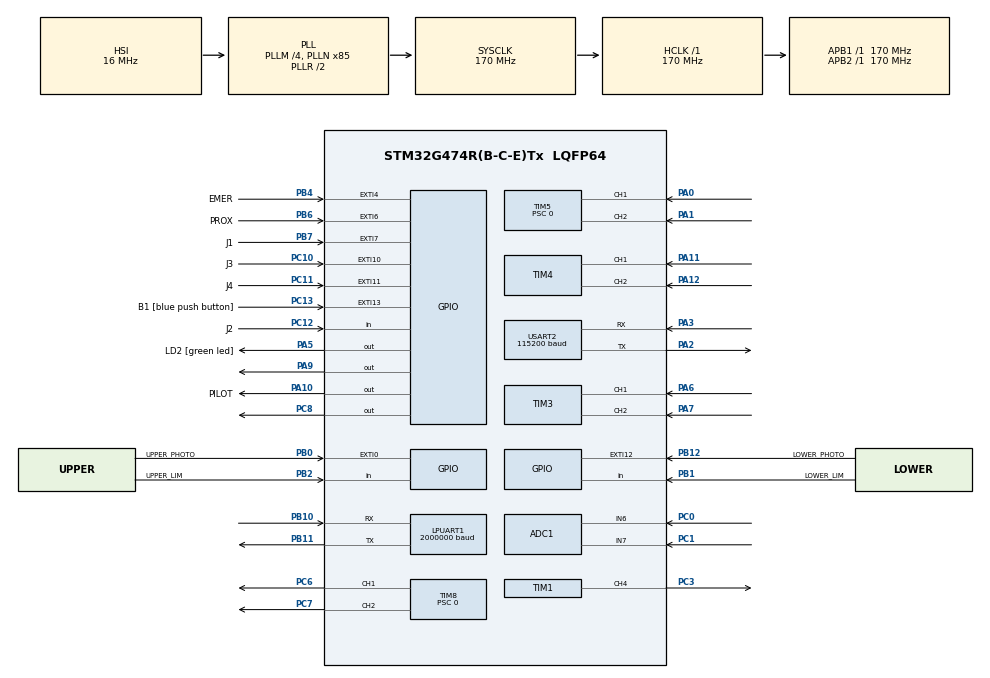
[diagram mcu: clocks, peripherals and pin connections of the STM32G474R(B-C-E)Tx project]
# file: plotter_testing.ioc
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ADC1.Channel-1\#ChannelRegularConversion=ADC_CHANNEL_6
ADC1.Channel-2\#ChannelRegularConversion=ADC_CHANNEL_7
ADC1.ContinuousConvMode=ENABLE
ADC1.DMAContinuousRequests=ENABLE
ADC1.NbrOfConversion=2
ADC1.NbrOfConversionFlag=1
ADC1.OffsetNumber-1\#ChannelRegularConversion=ADC_OFFSET_NONE
ADC1.OffsetNumber-2\#ChannelRegularConversion=ADC_OFFSET_NONE
ADC1.Rank-1\#ChannelRegularConversion=1
ADC1.Rank-2\#ChannelRegularConversion=2
ADC1.SamplingTime-1\#ChannelRegularConversion=ADC_SAMPLETIME_640CYCLES_5
ADC1.SamplingTime-2\#ChannelRegularConversion=ADC_SAMPLETIME_640CYCLES_5
ADC1.master=1
Dma.ADC1.0.Direction=DMA_PERIPH_TO_MEMORY
Dma.ADC1.0.EventEnable=DISABLE
Dma.ADC1.0.Instance=DMA1_Channel1
Dma.ADC1.0.MemDataAlignment=DMA_MDATAALIGN_HALFWORD
Dma.ADC1.0.MemInc=DMA_MINC_ENABLE
Dma.ADC1.0.Mode=DMA_CIRCULAR
Dma.ADC1.0.PeriphDataAlignment=DMA_PDATAALIGN_HALFWORD
Dma.ADC1.0.PeriphInc=DMA_PINC_DISABLE
Dma.ADC1.0.Polarity=HAL_DMAMUX_REQ_GEN_RISING
Dma.ADC1.0.Priority=DMA_PRIORITY_LOW
Dma.ADC1.0.RequestNumber=1
Dma.ADC1.0.SignalID=NONE
Dma.ADC1.0.SyncEnable=DISABLE
Dma.ADC1.0.SyncPolarity=HAL_DMAMUX_SYNC_NO_EVENT
Dma.ADC1.0.SyncRequestNumber=1
Dma.ADC1.0.SyncSignalID=NONE
Dma.LPUART1_RX.3.Direction=DMA_PERIPH_TO_MEMORY
Dma.LPUART1_RX.3.EventEnable=DISABLE
Dma.LPUART1_RX.3.Instance=DMA1_Channel4
Dma.LPUART1_RX.3.MemDataAlignment=DMA_MDATAALIGN_BYTE
Dma.LPUART1_RX.3.MemInc=DMA_MINC_ENABLE
Dma.LPUART1_RX.3.Mode=DMA_NORMAL
Dma.LPUART1_RX.3.PeriphDataAlignment=DMA_PDATAALIGN_BYTE
Dma.LPUART1_RX.3.PeriphInc=DMA_PINC_DISABLE
Dma.LPUART1_RX.3.Polarity=HAL_DMAMUX_REQ_GEN_RISING
Dma.LPUART1_RX.3.Priority=DMA_PRIORITY_LOW
Dma.LPUART1_RX.3.RequestNumber=1
Dma.LPUART1_RX.3.SignalID=NONE
Dma.LPUART1_RX.3.SyncEnable=DISABLE
Dma.LPUART1_RX.3.SyncPolarity=HAL_DMAMUX_SYNC_NO_EVENT
Dma.LPUART1_RX.3.SyncRequestNumber=1
Dma.LPUART1_RX.3.SyncSignalID=NONE
Dma.LPUART1_TX.4.Direction=DMA_MEMORY_TO_PERIPH
Dma.LPUART1_TX.4.EventEnable=DISABLE
Dma.LPUART1_TX.4.Instance=DMA1_Channel5
Dma.LPUART1_TX.4.MemDataAlignment=DMA_MDATAALIGN_BYTE
Dma.LPUART1_TX.4.MemInc=DMA_MINC_ENABLE
Dma.LPUART1_TX.4.Mode=DMA_NORMAL
Dma.LPUART1_TX.4.PeriphDataAlignment=DMA_PDATAALIGN_BYTE
Dma.LPUART1_TX.4.PeriphInc=DMA_PINC_DISABLE
Dma.LPUART1_TX.4.Polarity=HAL_DMAMUX_REQ_GEN_RISING
Dma.LPUART1_TX.4.Priority=DMA_PRIORITY_LOW
Dma.LPUART1_TX.4.RequestNumber=1
Dma.LPUART1_TX.4.SignalID=NONE
Dma.LPUART1_TX.4.SyncEnable=DISABLE
Dma.LPUART1_TX.4.SyncPolarity=HAL_DMAMUX_SYNC_NO_EVENT
Dma.LPUART1_TX.4.SyncRequestNumber=1
Dma.LPUART1_TX.4.SyncSignalID=NONE
Dma.Request0=ADC1
Dma.Request1=USART2_RX
Dma.Request2=USART2_TX
Dma.Request3=LPUART1_RX
Dma.Request4=LPUART1_TX
Dma.USART2_RX.1.Direction=DMA_PERIPH_TO_MEMORY
Dma.USART2_RX.1.EventEnable=DISABLE
Dma.USART2_RX.1.Instance=DMA1_Channel2
Dma.USART2_RX.1.MemDataAlignment=DMA_MDATAALIGN_BYTE
Dma.USART2_RX.1.MemInc=DMA_MINC_ENABLE
Dma.USART2_RX.1.Mode=DMA_NORMAL
Dma.USART2_RX.1.PeriphDataAlignment=DMA_PDATAALIGN_BYTE
Dma.USART2_RX.1.PeriphInc=DMA_PINC_DISABLE
Dma.USART2_RX.1.Polarity=HAL_DMAMUX_REQ_GEN_RISING
Dma.USART2_RX.1.Priority=DMA_PRIORITY_LOW
Dma.USART2_RX.1.RequestNumber=1
Dma.USART2_RX.1.SignalID=NONE
Dma.USART2_RX.1.SyncEnable=DISABLE
Dma.USART2_RX.1.SyncPolarity=HAL_DMAMUX_SYNC_NO_EVENT
Dma.USART2_RX.1.SyncRequestNumber=1
Dma.USART2_RX.1.SyncSignalID=NONE
Dma.USART2_TX.2.Direction=DMA_MEMORY_TO_PERIPH
Dma.USART2_TX.2.EventEnable=DISABLE
Dma.USART2_TX.2.Instance=DMA1_Channel3
Dma.USART2_TX.2.MemDataAlignment=DMA_MDATAALIGN_BYTE
Dma.USART2_TX.2.MemInc=DMA_MINC_ENABLE
Dma.USART2_TX.2.Mode=DMA_NORMAL
Dma.USART2_TX.2.PeriphDataAlignment=DMA_PDATAALIGN_BYTE
Dma.USART2_TX.2.PeriphInc=DMA_PINC_DISABLE
Dma.USART2_TX.2.Polarity=HAL_DMAMUX_REQ_GEN_RISING
Dma.USART2_TX.2.Priority=DMA_PRIORITY_LOW
Dma.USART2_TX.2.RequestNumber=1
Dma.USART2_TX.2.SignalID=NONE
Dma.USART2_TX.2.SyncEnable=DISABLE
Dma.USART2_TX.2.SyncPolarity=HAL_DMAMUX_SYNC_NO_EVENT
Dma.USART2_TX.2.SyncRequestNumber=1
Dma.USART2_TX.2.SyncSignalID=NONE
LPUART1.BaudRate=2000000
Mcu.Family=STM32G4
Mcu.Name=STM32G474R(B-C-E)Tx
Mcu.Package=LQFP64
NVIC.DMA1_Channel1_IRQn=true\:0\:0\:false\:false\:true\:false\:true\:true
NVIC.DMA1_Channel2_IRQn=true\:0\:0\:false\:false\:true\:false\:true\:true
NVIC.DMA1_Channel3_IRQn=true\:0\:0\:false\:false\:true\:false\:true\:true
NVIC.DMA1_Channel4_IRQn=true\:0\:0\:false\:false\:true\:false\:true\:true
NVIC.DMA1_Channel5_IRQn=true\:0\:0\:false\:false\:true\:false\:true\:true
NVIC.EXTI0_IRQn=true\:0\:0\:false\:false\:true\:true\:true\:true
NVIC.EXTI15_10_IRQn=true\:0\:0\:false\:false\:true\:true\:true\:true
NVIC.EXTI4_IRQn=true\:0\:0\:false\:false\:true\:true\:true\:true
NVIC.EXTI9_5_IRQn=true\:0\:0\:false\:false\:true\:true\:true\:true
NVIC.LPUART1_IRQn=true\:0\:0\:false\:false\:true\:true\:true\:true
NVIC.PriorityGroup=NVIC_PRIORITYGROUP_4
NVIC.TIM1_UP_TIM16_IRQn=true\:0\:0\:false\:false\:true\:true\:true\:true
NVIC.TIM2_IRQn=true\:0\:0\:false\:false\:true\:true\:true\:true
NVIC.TIM3_IRQn=true\:0\:0\:false\:false\:true\:true\:true\:true
NVIC.TIM4_IRQn=true\:0\:0\:false\:false\:true\:true\:true\:true
NVIC.USART2_IRQn=true\:0\:0\:false\:false\:true\:true\:true\:true
PA0.Signal=S_TIM5_CH1
PA1.Signal=S_TIM5_CH2
PA10.GPIO_Label=PILOT
PA10.Signal=GPIO_Output
PA11.Signal=S_TIM4_CH1
PA12.Signal=S_TIM4_CH2
PA13.GPIO_Label=T_SWDIO
PA13.Signal=SYS_JTMS-SWDIO
PA14.GPIO_Label=T_SWCLK
PA14.Signal=SYS_JTCK-SWCLK
PA2.Mode=Asynchronous
PA2.Signal=USART2_TX
PA3.Mode=Asynchronous
PA3.Signal=USART2_RX
PA5.GPIO_Label=LD2 [green led]
PA5.Signal=GPIO_Output
PA6.Signal=S_TIM3_CH1
PA7.Signal=S_TIM3_CH2
PA9.Signal=GPIO_Output
PB0.GPIO_Label=UPPER_PHOTO
PB0.Signal=GPXTI0
PB1.GPIO_Label=LOWER_LIM
PB1.GPIO_PuPd=GPIO_PULLDOWN
PB1.Signal=GPIO_Input
PB10.Mode=Asynchronous
PB10.Signal=LPUART1_RX
PB11.Mode=Asynchronous
PB11.Signal=LPUART1_TX
PB12.GPIO_Label=LOWER_PHOTO
PB12.Signal=GPXTI12
PB2.GPIO_Label=UPPER_LIM
PB2.GPIO_PuPd=GPIO_PULLDOWN
PB2.Signal=GPIO_Input
PB3.GPIO_Label=T_SWO
PB3.Signal=SYS_JTDO-SWO
PB4.GPIO_Label=EMER
PB4.GPIO_ModeDefaultEXTI=GPIO_MODE_IT_FALLING
PB4.Signal=GPXTI4
PB6.GPIO_Label=PROX
PB6.GPIO_PuPd=GPIO_PULLUP
PB6.Signal=GPXTI6
PB7.GPIO_Label=J1
PB7.GPIO_PuPd=GPIO_PULLDOWN
PB7.Signal=GPXTI7
PC0.Mode=IN6-Single-Ended
PC0.Signal=ADC1_IN6
PC1.Mode=IN7-Single-Ended
PC1.Signal=ADC1_IN7
PC10.GPIO_Label=J3
PC10.GPIO_PuPd=GPIO_PULLDOWN
PC10.Signal=GPXTI10
PC11.GPIO_Label=J4
PC11.GPIO_PuPd=GPIO_PULLDOWN
PC11.Signal=GPXTI11
PC12.GPIO_Label=J2
PC12.GPIO_PuPd=GPIO_PULLDOWN
PC12.Signal=GPIO_Input
PC13.GPIO_Label=B1 [blue push button]
PC13.Signal=GPXTI13
PC14-OSC32_IN.GPIO_Label=RCC_OSC32_IN
PC14-OSC32_IN.Signal=RCC_OSC32_IN
PC15-OSC32_OUT.GPIO_Label=RCC_OSC32_OUT
PC15-OSC32_OUT.Signal=RCC_OSC32_OUT
PC3.Signal=S_TIM1_CH4
PC6.Signal=S_TIM8_CH1
PC7.Signal=S_TIM8_CH2
PC8.Signal=GPIO_Output
PF0-OSC_IN.GPIO_Label=RCC_OSC_IN
PF0-OSC_IN.Signal=RCC_OSC_IN
PF1-OSC_OUT.GPIO_Label=RCC_OSC_OUT
PF1-OSC_OUT.Signal=RCC_OSC_OUT
ProjectManager.HeapSize=0x200
ProjectManager.StackSize=0x400
ProjectManager.TargetToolchain=STM32CubeIDE
RCC.ADC12Freq_Value=170000000
RCC.ADC345Freq_Value=170000000
RCC.AHBFreq_Value=170000000
RCC.APB1Freq_Value=170000000
RCC.APB1TimFreq_Value=170000000
RCC.APB2Freq_Value=170000000
RCC.APB2TimFreq_Value=170000000
RCC.CortexFreq_Value=170000000
RCC.EXTERNAL_CLOCK_VALUE=12288000
RCC.HCLKFreq_Value=170000000
RCC.HSE_VALUE=24000000
RCC.HSI48_VALUE=48000000
RCC.HSI_VALUE=16000000
RCC.LSE_VALUE=32768
RCC.PLLM=RCC_PLLM_DIV4
RCC.PLLN=85
RCC.RTCClockSelection=RCC_RTCCLKSOURCE_LSE
RCC.SYSCLKFreq_VALUE=170000000
RCC.SYSCLKSource=RCC_SYSCLKSOURCE_PLLCLK
RCC.USBFreq_Value=170000000
RCC.VCOOutputFreq_Value=340000000
SH.S_TIM1_CH4.0=TIM1_CH4,PWM Generation4 CH4
SH.S_TIM3_CH1.0=TIM3_CH1,Encoder_Interface
SH.S_TIM3_CH2.0=TIM3_CH2,Encoder_Interface
SH.S_TIM4_CH1.0=TIM4_CH1,Encoder_Interface
SH.S_TIM4_CH2.0=TIM4_CH2,Encoder_Interface
SH.S_TIM5_CH1.0=TIM5_CH1,Encoder_Interface
SH.S_TIM5_CH2.0=TIM5_CH2,Encoder_Interface
SH.S_TIM8_CH1.0=TIM8_CH1,PWM Generation1 CH1
SH.S_TIM8_CH2.0=TIM8_CH2,PWM Generation2 CH2
TIM1.Channel-PWM\ Generation4\ CH4=TIM_CHANNEL_4
TIM16.PeriodNoDither=1145
TIM16.Prescaler=169
TIM2.PeriodNoDither=999
TIM2.Prescaler=169
TIM3.EncoderMode=TIM_ENCODERMODE_TI12
TIM4.EncoderMode=TIM_ENCODERMODE_TI12
TIM5.EncoderMode=TIM_ENCODERMODE_TI12
TIM5.PeriodNoDither=65535
TIM5.Prescaler=0
TIM8.Channel-PWM\ Generation1\ CH1=TIM_CHANNEL_1
TIM8.Channel-PWM\ Generation2\ CH2=TIM_CHANNEL_2
TIM8.ClockDivision=TIM_CLOCKDIVISION_DIV2
TIM8.Prescaler=0
USART2.BaudRate=115200
USART2.Parity=PARITY_EVEN
USART2.VirtualMode-Asynchronous=VM_ASYNC
USART2.WordLength=WORDLENGTH_9B
VP_SYS_VS_DBSignals.Mode=DisableDeadBatterySignals
VP_TIM16_VS_ClockSourceINT.Mode=Enable_Timer
VP_TIM16_VS_OPM.Mode=OPM_bit
VP_TIM2_VS_ClockSourceINT.Mode=Internal
VP_TIM8_VS_ClockSourceINT.Mode=Internal
board=NUCLEO-G474RE

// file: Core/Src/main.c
/* USER CODE BEGIN Header */
/**
  ******************************************************************************
  * @file           : main.c
  * @brief          : Main program body
  ******************************************************************************
  * @attention
  *
  * Copyright (c) 2025 STMicroelectronics.
  * All rights reserved.
  *
  * This software is licensed under terms that can be found in the LICENSE file
  * in the root directory of this software component.
  * If no LICENSE file comes with this software, it is provided AS-IS.
  *
  ******************************************************************************
  */
/* USER CODE END Header */
#include "main.h"
#include "adc.h"
#include "dma.h"
#include "usart.h"
#include "tim.h"
#include "gpio.h"

/* USER CODE BEGIN PV */
uint32_t QEIReadRawT3;
uint32_t QEIReadRawT4;
uint16_t b1,b2,b3,b4;
uint32_t mx[40],my[40];
uint16_t prox,lphoto,uphoto,llim,ulim,emer,light;
/* USER CODE END PV */

void SystemClock_Config(void);

int main(void)
{

  /* MCU Configuration--------------------------------------------------------*/

  /* Reset of all peripherals, Initializes the Flash interface and the Systick. */
  HAL_Init();

  /* Configure the system clock */
  SystemClock_Config();

  /* Initialize all configured peripherals */
  MX_GPIO_Init();
  MX_DMA_Init();
  MX_ADC1_Init();
  MX_TIM2_Init();
  MX_TIM3_Init();
  MX_TIM4_Init();
  MX_TIM5_Init();
  MX_TIM8_Init();
  MX_USART2_UART_Init();
  MX_TIM16_Init();
  MX_TIM1_Init();
  MX_LPUART1_UART_Init();
  /* USER CODE BEGIN 2 */
  HAL_TIM_Encoder_Start(&htim3,TIM_CHANNEL_ALL);
  HAL_ADC_Start_DMA(&hadc1, mx, 40);
  /* USER CODE END 2 */

  /* Infinite loop */
  while (1)
  {

    /* USER CODE BEGIN 3 */

	  QEIReadRawT3 = __HAL_TIM_GET_COUNTER(&htim3);
	  QEIReadRawT4 = __HAL_TIM_GET_COUNTER(&htim4);
	  b1 = HAL_GPIO_ReadPin(J1_GPIO_Port, J1_Pin);
	  b2 = HAL_GPIO_ReadPin(J2_GPIO_Port, J2_Pin);
	  b3 = HAL_GPIO_ReadPin(J3_GPIO_Port, J3_Pin);
	  b4 = HAL_GPIO_ReadPin(J4_GPIO_Port, J4_Pin);
	  prox = HAL_GPIO_ReadPin(PROX_GPIO_Port, PROX_Pin);
	  lphoto = HAL_GPIO_ReadPin(LOWER_PHOTO_GPIO_Port, LOWER_PHOTO_Pin);
	  uphoto = HAL_GPIO_ReadPin(UPPER_PHOTO_GPIO_Port, UPPER_PHOTO_Pin);
	  llim = HAL_GPIO_ReadPin(LOWER_LIM_GPIO_Port, LOWER_LIM_Pin);
	  ulim = HAL_GPIO_ReadPin(UPPER_PHOTO_GPIO_Port, UPPER_LIM_Pin);
	  emer = HAL_GPIO_ReadPin(EMER_GPIO_Port, EMER_Pin);
	  HAL_GPIO_WritePin(PILOT_GPIO_Port, PILOT_Pin, llim);
  }
  /* USER CODE END 3 */
}

void SystemClock_Config(void)
{
  RCC_OscInitTypeDef RCC_OscInitStruct = {0};
  RCC_ClkInitTypeDef RCC_ClkInitStruct = {0};

  /** Configure the main internal regulator output voltage
  */
  HAL_PWREx_ControlVoltageScaling(PWR_REGULATOR_VOLTAGE_SCALE1_BOOST);

  /** Initializes the RCC Oscillators according to the specified parameters
  * in the RCC_OscInitTypeDef structure.
  */
  RCC_OscInitStruct.OscillatorType = RCC_OSCILLATORTYPE_HSI;
  RCC_OscInitStruct.HSIState = RCC_HSI_ON;
  RCC_OscInitStruct.HSICalibrationValue = RCC_HSICALIBRATION_DEFAULT;
  RCC_OscInitStruct.PLL.PLLState = RCC_PLL_ON;
  RCC_OscInitStruct.PLL.PLLSource = RCC_PLLSOURCE_HSI;
  RCC_OscInitStruct.PLL.PLLM = RCC_PLLM_DIV4;
  RCC_OscInitStruct.PLL.PLLN = 85;
  RCC_OscInitStruct.PLL.PLLP = RCC_PLLP_DIV2;
  RCC_OscInitStruct.PLL.PLLQ = RCC_PLLQ_DIV2;
  RCC_OscInitStruct.PLL.PLLR = RCC_PLLR_DIV2;
  if (HAL_RCC_OscConfig(&RCC_OscInitStruct) != HAL_OK)
  {
    Error_Handler();
  }

  /** Initializes the CPU, AHB and APB buses clocks
  */
  RCC_ClkInitStruct.ClockType = RCC_CLOCKTYPE_HCLK|RCC_CLOCKTYPE_SYSCLK
                              |RCC_CLOCKTYPE_PCLK1|RCC_CLOCKTYPE_PCLK2;
  RCC_ClkInitStruct.SYSCLKSource = RCC_SYSCLKSOURCE_PLLCLK;
  RCC_ClkInitStruct.AHBCLKDivider = RCC_SYSCLK_DIV1;
  RCC_ClkInitStruct.APB1CLKDivider = RCC_HCLK_DIV1;
  RCC_ClkInitStruct.APB2CLKDivider = RCC_HCLK_DIV1;

  if (HAL_RCC_ClockConfig(&RCC_ClkInitStruct, FLASH_LATENCY_4) != HAL_OK)
  {
    Error_Handler();
  }
}

void Error_Handler(void)
{
  __disable_irq();
  while (1)
  {
  }
}
